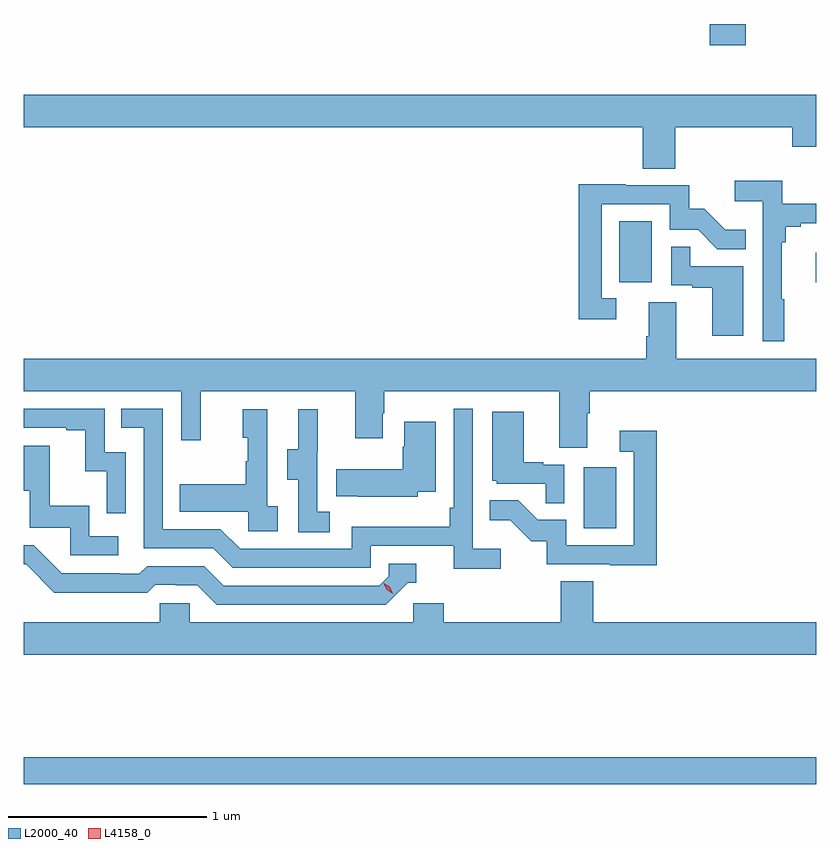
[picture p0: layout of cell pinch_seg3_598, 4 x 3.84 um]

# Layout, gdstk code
import gdstk
lib = gdstk.Library(unit=1e-6, precision=1e-09)
def R(c, l, rs):  # rectangles x0, y0, x1, y1
    for r in rs: c.add(gdstk.rectangle(r[:2], r[2:], *l))
def P(c, l, *ps):  # polygons
    for p in ps: c.add(gdstk.Polygon(p, *l))
L2000_40 = (2000, 40)
L4158_0 = (4158, 0)

pinch_seg3_598 = lib.new_cell('pinch_seg3_598')
R(pinch_seg3_598, L2000_40, [(1017.013,686.944,1021.013,687.08), (1019.84,688.236,1020.004,688.543), (1020.02,689.478,1020.184,689.785), (1021.011,689.479,1021.013,689.626), (1020.476,690.675,1020.659,690.782)])
P(pinch_seg3_598, L2000_40, [(1020.302,690.26),(1020.893,690.26),(1020.893,690.162),(1021.013,690.162),(1021.013,690.424),(1017.013,690.424),(1017.013,690.26),(1020.137,690.26),(1020.137,690.052),(1020.302,690.052)],
  [(1020.853,689.393),(1020.841,689.393),(1020.841,689.681),(1020.86,689.681),(1020.86,689.758),(1020.937,689.758),(1020.937,689.777),(1021.013,689.777),(1021.013,689.874),(1020.842,689.874),(1020.842,689.99),(1020.603,689.99),(1020.603,689.888),(1020.744,689.888),(1020.744,689.181),(1020.853,689.181)],
  [(1020.004,689.397),(1019.931,689.397),(1019.931,689.871),(1020.273,689.871),(1020.273,689.742),(1020.417,689.742),(1020.515,689.644),(1020.659,689.644),(1020.659,689.743),(1020.555,689.743),(1020.448,689.85),(1020.372,689.85),(1020.372,689.967),(1020.053,689.967),(1020.053,689.972),(1019.815,689.972),(1019.815,689.292),(1020.004,689.292)],
  [(1020.646,689.559),(1020.377,689.559),(1020.377,689.657),(1020.282,689.657),(1020.282,689.463),(1020.389,689.463),(1020.389,689.451),(1020.488,689.451),(1020.488,689.208),(1020.646,689.208)],
  [(1019.857,688.816),(1019.87,688.816),(1019.87,688.928),(1021.013,688.928),(1021.013,689.092),(1020.307,689.092),(1020.307,689.378),(1020.167,689.378),(1020.167,689.204),(1020.155,689.204),(1020.155,689.092),(1017.013,689.092),(1017.013,688.928),(1017.807,688.928),(1017.807,688.68),(1017.905,688.68),(1017.905,688.928),(1018.685,688.928),(1018.685,688.689),(1018.825,688.689),(1018.825,688.817),(1018.833,688.817),(1018.833,688.928),(1019.717,688.928),(1019.717,688.642),(1019.857,688.642)],
  [(1019.422,688.132),(1019.28,688.132),(1019.28,688.84),(1019.184,688.84),(1019.184,688.339),(1019.164,688.339),(1019.164,688.243),(1018.668,688.243),(1018.668,688.131),(1018.104,688.131),(1018.005,688.23),(1017.714,688.23),(1017.714,688.839),(1017.505,688.839),(1017.505,688.743),(1017.618,688.743),(1017.618,688.134),(1017.968,688.134),(1018.067,688.035),(1018.764,688.035),(1018.764,688.146),(1019.183,688.146),(1019.183,688.03),(1019.422,688.03)],
  [(1017.528,688.62),(1017.42,688.62),(1017.42,688.839),(1017.013,688.839),(1017.013,688.743),(1017.227,688.743),(1017.227,688.731),(1017.323,688.731),(1017.323,688.523),(1017.432,688.523),(1017.432,688.311),(1017.528,688.311)],
  [(1018.294,688.346),(1018.242,688.346),(1018.242,688.837),(1018.118,688.837),(1018.118,688.692),(1018.144,688.692),(1018.144,688.574),(1018.134,688.574),(1018.134,688.459),(1017.799,688.459),(1017.799,688.319),(1018.146,688.319),(1018.146,688.221),(1018.294,688.221)],
  [(1018.558,688.319),(1018.494,688.319),(1018.494,688.623),(1018.496,688.623),(1018.496,688.837),(1018.397,688.837),(1018.397,688.635),(1018.343,688.635),(1018.343,688.48),(1018.398,688.48),(1018.398,688.216),(1018.558,688.216)],
  [(1019.742,688.557),(1019.636,688.557),(1019.636,688.57),(1019.536,688.57),(1019.536,688.825),(1019.378,688.825),(1019.378,688.476),(1019.4,688.476),(1019.4,688.461),(1019.647,688.461),(1019.647,688.363),(1019.742,688.363)],
  [(1019.001,688.421),(1019.092,688.421),(1019.092,688.774),(1018.934,688.774),(1018.934,688.646),(1018.927,688.646),(1018.927,688.534),(1018.591,688.534),(1018.591,688.397),(1018.699,688.397),(1018.699,688.394),(1019.001,688.394)],
  [(1020.209,688.729),(1020.021,688.729),(1020.021,688.623),(1020.093,688.623),(1020.093,688.149),(1019.751,688.149),(1019.751,688.278),(1019.607,688.278),(1019.509,688.376),(1019.365,688.376),(1019.365,688.277),(1019.469,688.277),(1019.576,688.17),(1019.653,688.17),(1019.653,688.053),(1019.971,688.053),(1019.971,688.048),(1020.209,688.048)],
  [(1017.49,688.194),(1017.342,688.194),(1017.342,688.348),(1017.143,688.348),(1017.143,688.651),(1017.013,688.651),(1017.013,688.425),(1017.041,688.425),(1017.041,688.239),(1017.246,688.239),(1017.246,688.098),(1017.49,688.098)],
  [(1018.95,687.96),(1018.993,687.96),(1018.993,688.056),(1018.854,688.056),(1018.854,687.993),(1018.806,687.945),(1018.023,687.945),(1017.924,688.044),(1017.635,688.044),(1017.596,688.005),(1017.497,688.005),(1017.497,688.008),(1017.204,688.008),(1017.063,688.149),(1017.013,688.149),(1017.013,688.053),(1017.024,688.053),(1017.166,687.911),(1017.402,687.911),(1017.402,687.909),(1017.635,687.909),(1017.677,687.951),(1017.78,687.951),(1017.78,687.948),(1017.887,687.948),(1017.986,687.849),(1018.839,687.849)],
  [(1021.013,687.76),(1019.888,687.76),(1019.888,687.968),(1019.723,687.968),(1019.723,687.76),(1019.132,687.76),(1019.132,687.858),(1018.98,687.858),(1018.98,687.76),(1017.849,687.76),(1017.849,687.858),(1017.699,687.858),(1017.699,687.76),(1017.013,687.76),(1017.013,687.596),(1021.013,687.596)])
P(pinch_seg3_598, L4158_0, [(1018.876,687.906),(1018.845,687.925),(1018.829,687.958),(1018.829,687.958),(1018.83,687.958),(1018.86,687.939),(1018.876,687.906),(1018.876,687.906)])

lib.write_gds('pinch_seg3_598.gds')
